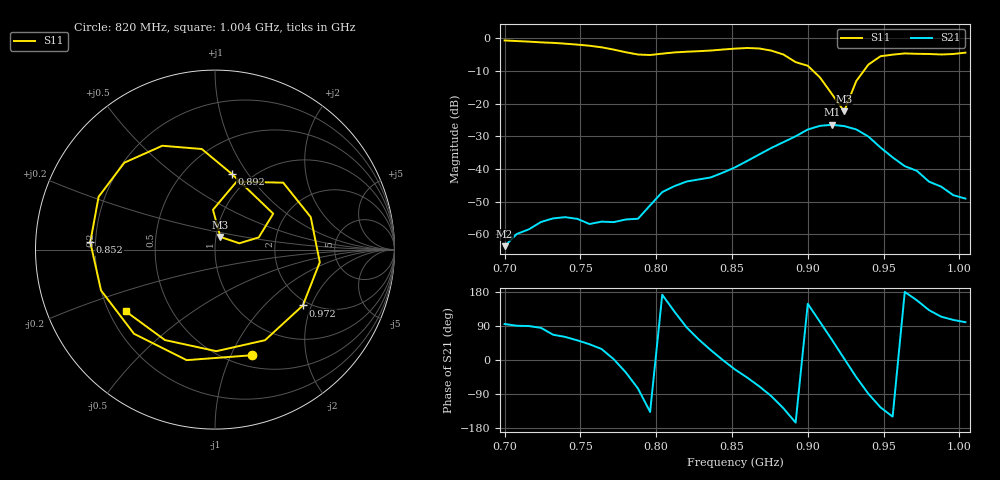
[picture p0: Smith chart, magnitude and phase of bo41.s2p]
# Hz S RI R 50
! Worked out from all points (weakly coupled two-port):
!   39 points, 700 MHz to 1.004 GHz, reference 50 ohm
!   highest |S21| = -26.45 dB at 916 MHz (marker M1); lowest = -63.6 dB at 700 MHz (marker M2)
!   lowest |S11| = -22.3 dB at 924 MHz (marker M3), VSWR 1.17, Z = 52.6 + j7.43 ohm
!   |S11| at or under -10 dB: 903.7 MHz to 936.9 MHz (33.21 MHz wide, 3.61 % of centre)
!   S12 and S22 are empty: the file has one direction only
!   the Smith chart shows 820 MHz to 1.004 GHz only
!   S11 on the Smith chart (normalised r, x): 820 MHz: 0.63, -1.21; 852 MHz: 0.18, +0.03; 892 MHz: 0.81, +0.84; 972 MHz: 1.85, -1.74; 1.004 GHz: 0.27, -0.29
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7e8  0.762 0.5303  -5.71e-05 0.00066  0 0  0 0
7.24e8  0.8268 -0.2645  0.000141 0.00155  0 0  0 0
7.4e8  0.4394 -0.7026  0.000895 0.00161  0 0  0 0
7.56e8  -0.2025 -0.7439  0.00108 0.000961  0 0  0 0
7.72e8  -0.6501 -0.1744  0.00155 5.36e-05  0 0  0 0
7.8e8  -0.5616 0.2445  0.00143 -0.000921  0 0  0 0
7.88e8  -0.1903 0.533  0.000441 -0.00168  0 0  0 0
7.96e8  0.2864 0.4766  -0.00204 -0.0019  0 0  0 0
8.04e8  0.5745 0.103  -0.00441 0.000604  0 0  0 0
8.2e8  0.2086 -0.5884  0.000395 0.00644  0 0  0 0
8.36e8  -0.4513 -0.4689  0.0067 0.00328  0 0  0 0
8.52e8  -0.6949 0.0414  0.00964 -0.0045  0 0  0 0
8.76e8  -0.2936 0.5784  -0.00203 -0.021  0 0  0 0
8.92e8  0.0925 0.4227  -0.0307 -0.00814  0 0  0 0
9.08e8  0.2439 0.0682  -0.00867 0.0451  0 0  0 0
9.16e8  0.1357 0.0352  0.0286 0.038  0 0  0 0
9.24e8  0.0303 0.0702  0.0454 0.00295  0 0  0 0
9.4e8  0.12 0.3781  0.000469 -0.0315  0 0  0 0
9.56e8  0.5336 0.1807  -0.013 -0.00768  0 0  0 0
9.72e8  0.4893 -0.3114  -0.00869 0.0036  0 0  0 0
9.88e8  0.0074 -0.566  -0.00223 0.00492  0 0  0 0
1.004e9  -0.497 -0.3442  -0.000599 0.00349  0 0  0 0
